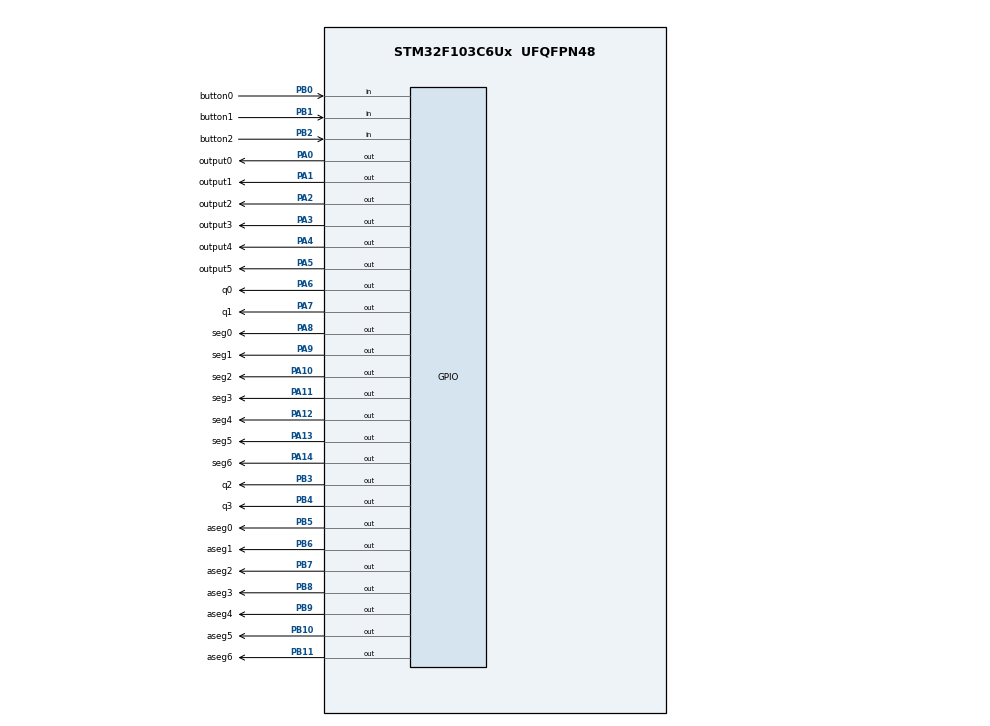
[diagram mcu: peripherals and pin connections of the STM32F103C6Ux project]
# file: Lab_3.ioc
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Mcu.Family=STM32F1
Mcu.Name=STM32F103C6Ux
Mcu.Package=UFQFPN48
NVIC.PriorityGroup=NVIC_PRIORITYGROUP_4
NVIC.TIM2_IRQn=true\:0\:0\:false\:false\:true\:true\:true\:true
PA0-WKUP.GPIO_Label=output0
PA0-WKUP.Signal=GPIO_Output
PA1.GPIO_Label=output1
PA1.Signal=GPIO_Output
PA10.GPIO_Label=seg2
PA10.Signal=GPIO_Output
PA11.GPIO_Label=seg3
PA11.Signal=GPIO_Output
PA12.GPIO_Label=seg4
PA12.Signal=GPIO_Output
PA13.GPIO_Label=seg5
PA13.Signal=GPIO_Output
PA14.GPIO_Label=seg6
PA14.Signal=GPIO_Output
PA2.GPIO_Label=output2
PA2.Signal=GPIO_Output
PA3.GPIO_Label=output3
PA3.Signal=GPIO_Output
PA4.GPIO_Label=output4
PA4.Signal=GPIO_Output
PA5.GPIO_Label=output5
PA5.Signal=GPIO_Output
PA6.GPIO_Label=q0
PA6.Signal=GPIO_Output
PA7.GPIO_Label=q1
PA7.Signal=GPIO_Output
PA8.GPIO_Label=seg0
PA8.Signal=GPIO_Output
PA9.GPIO_Label=seg1
PA9.Signal=GPIO_Output
PB0.GPIO_Label=button0
PB0.Signal=GPIO_Input
PB1.GPIO_Label=button1
PB1.Signal=GPIO_Input
PB10.GPIO_Label=aseg5
PB10.Signal=GPIO_Output
PB11.GPIO_Label=aseg6
PB11.Signal=GPIO_Output
PB2.GPIO_Label=button2
PB2.Signal=GPIO_Input
PB3.GPIO_Label=q2
PB3.Signal=GPIO_Output
PB4.GPIO_Label=q3
PB4.Signal=GPIO_Output
PB5.GPIO_Label=aseg0
PB5.Signal=GPIO_Output
PB6.GPIO_Label=aseg1
PB6.Signal=GPIO_Output
PB7.GPIO_Label=aseg2
PB7.Signal=GPIO_Output
PB8.GPIO_Label=aseg3
PB8.Signal=GPIO_Output
PB9.GPIO_Label=aseg4
PB9.Signal=GPIO_Output
ProjectManager.HeapSize=0x200
ProjectManager.StackSize=0x400
ProjectManager.TargetToolchain=STM32CubeIDE
RCC.APB1Freq_Value=8000000
RCC.APB2Freq_Value=8000000
TIM2.Period=9
TIM2.Prescaler=7999
VP_TIM2_VS_ClockSourceINT.Mode=Internal
board=custom

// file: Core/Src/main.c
/* USER CODE BEGIN Header */
/**
  ******************************************************************************
  * @file           : main.c
  * @brief          : Main program body
  ******************************************************************************
  * @attention
  *
  * Copyright (c) 2022 STMicroelectronics.
  * All rights reserved.
  *
  * This software is licensed under terms that can be found in the LICENSE file
  * in the root directory of this software component.
  * If no LICENSE file comes with this software, it is provided AS-IS.
  *
  ******************************************************************************
  */
/* USER CODE END Header */
#include "main.h"

/* USER CODE BEGIN Includes */
#include "output_display.h"
#include "fsm_automatic.h"
#include "fsm_manual.h"
#include "button.h"
#include "global.h"
#include "software_timer.h"
#include "mode2.h"
/* USER CODE END Includes */

TIM_HandleTypeDef htim2;

void SystemClock_Config(void);
static void MX_GPIO_Init(void);
static void MX_TIM2_Init(void);

int main(void)
{

  /* MCU Configuration--------------------------------------------------------*/

  /* Reset of all peripherals, Initializes the Flash interface and the Systick. */
  HAL_Init();

  /* Configure the system clock */
  SystemClock_Config();

  /* Initialize all configured peripherals */
  MX_GPIO_Init();
  MX_TIM2_Init();
  /* USER CODE BEGIN 2 */
  HAL_TIM_Base_Start_IT(&htim2);

  /* USER CODE END 2 */

  /* Infinite loop */
  /* USER CODE BEGIN WHILE */

  status = INIT;
  anotherstatus = INIT;

  setTimer4(10);
  setTimer5(1000);

  while (1)
  {
	  mode2();
	  scan7SEG();
	  fsm_automatic_run();
    /* USER CODE END WHILE */

  }
}

void SystemClock_Config(void)
{
  RCC_OscInitTypeDef RCC_OscInitStruct = {0};
  RCC_ClkInitTypeDef RCC_ClkInitStruct = {0};

  /** Initializes the RCC Oscillators according to the specified parameters
  * in the RCC_OscInitTypeDef structure.
  */
  RCC_OscInitStruct.OscillatorType = RCC_OSCILLATORTYPE_HSI;
  RCC_OscInitStruct.HSIState = RCC_HSI_ON;
  RCC_OscInitStruct.HSICalibrationValue = RCC_HSICALIBRATION_DEFAULT;
  RCC_OscInitStruct.PLL.PLLState = RCC_PLL_NONE;
  if (HAL_RCC_OscConfig(&RCC_OscInitStruct) != HAL_OK)
  {
    Error_Handler();
  }

  /** Initializes the CPU, AHB and APB buses clocks
  */
  RCC_ClkInitStruct.ClockType = RCC_CLOCKTYPE_HCLK|RCC_CLOCKTYPE_SYSCLK
                              |RCC_CLOCKTYPE_PCLK1|RCC_CLOCKTYPE_PCLK2;
  RCC_ClkInitStruct.SYSCLKSource = RCC_SYSCLKSOURCE_HSI;
  RCC_ClkInitStruct.AHBCLKDivider = RCC_SYSCLK_DIV1;
  RCC_ClkInitStruct.APB1CLKDivider = RCC_HCLK_DIV1;
  RCC_ClkInitStruct.APB2CLKDivider = RCC_HCLK_DIV1;

  if (HAL_RCC_ClockConfig(&RCC_ClkInitStruct, FLASH_LATENCY_0) != HAL_OK)
  {
    Error_Handler();
  }
}

static void MX_TIM2_Init(void)
{

  TIM_ClockConfigTypeDef sClockSourceConfig = {0};
  TIM_MasterConfigTypeDef sMasterConfig = {0};

  htim2.Instance = TIM2;
  htim2.Init.Prescaler = 7999;
  htim2.Init.CounterMode = TIM_COUNTERMODE_UP;
  htim2.Init.Period = 9;
  htim2.Init.ClockDivision = TIM_CLOCKDIVISION_DIV1;
  htim2.Init.AutoReloadPreload = TIM_AUTORELOAD_PRELOAD_DISABLE;
  if (HAL_TIM_Base_Init(&htim2) != HAL_OK)
  {
    Error_Handler();
  }
  sClockSourceConfig.ClockSource = TIM_CLOCKSOURCE_INTERNAL;
  if (HAL_TIM_ConfigClockSource(&htim2, &sClockSourceConfig) != HAL_OK)
  {
    Error_Handler();
  }
  sMasterConfig.MasterOutputTrigger = TIM_TRGO_RESET;
  sMasterConfig.MasterSlaveMode = TIM_MASTERSLAVEMODE_DISABLE;
  if (HAL_TIMEx_MasterConfigSynchronization(&htim2, &sMasterConfig) != HAL_OK)
  {
    Error_Handler();
  }

}

static void MX_GPIO_Init(void)
{
  GPIO_InitTypeDef GPIO_InitStruct = {0};

  /* GPIO Ports Clock Enable */
  __HAL_RCC_GPIOA_CLK_ENABLE();
  __HAL_RCC_GPIOB_CLK_ENABLE();

  /*Configure GPIO pin Output Level */
  HAL_GPIO_WritePin(GPIOA, output0_Pin|output1_Pin|output2_Pin|output3_Pin
                          |output4_Pin|output5_Pin|q0_Pin|q1_Pin
                          |seg0_Pin|seg1_Pin|seg2_Pin|seg3_Pin
                          |seg4_Pin|seg5_Pin|seg6_Pin, GPIO_PIN_RESET);

  /*Configure GPIO pin Output Level */
  HAL_GPIO_WritePin(GPIOB, aseg5_Pin|aseg6_Pin|q2_Pin|q3_Pin
                          |aseg0_Pin|aseg1_Pin|aseg2_Pin|aseg3_Pin
                          |aseg4_Pin, GPIO_PIN_RESET);

  /*Configure GPIO pins : output0_Pin output1_Pin output2_Pin output3_Pin
                           output4_Pin output5_Pin q0_Pin q1_Pin
                           seg0_Pin seg1_Pin seg2_Pin seg3_Pin
                           seg4_Pin seg5_Pin seg6_Pin */
  GPIO_InitStruct.Pin = output0_Pin|output1_Pin|output2_Pin|output3_Pin
                          |output4_Pin|output5_Pin|q0_Pin|q1_Pin
                          |seg0_Pin|seg1_Pin|seg2_Pin|seg3_Pin
                          |seg4_Pin|seg5_Pin|seg6_Pin;
  GPIO_InitStruct.Mode = GPIO_MODE_OUTPUT_PP;
  GPIO_InitStruct.Pull = GPIO_NOPULL;
  GPIO_InitStruct.Speed = GPIO_SPEED_FREQ_LOW;
  HAL_GPIO_Init(GPIOA, &GPIO_InitStruct);

  /*Configure GPIO pins : button0_Pin button1_Pin button2_Pin */
  GPIO_InitStruct.Pin = button0_Pin|button1_Pin|button2_Pin;
  GPIO_InitStruct.Mode = GPIO_MODE_INPUT;
  GPIO_InitStruct.Pull = GPIO_NOPULL;
  HAL_GPIO_Init(GPIOB, &GPIO_InitStruct);

  /*Configure GPIO pins : aseg5_Pin aseg6_Pin q2_Pin q3_Pin
                           aseg0_Pin aseg1_Pin aseg2_Pin aseg3_Pin
                           aseg4_Pin */
  GPIO_InitStruct.Pin = aseg5_Pin|aseg6_Pin|q2_Pin|q3_Pin
                          |aseg0_Pin|aseg1_Pin|aseg2_Pin|aseg3_Pin
                          |aseg4_Pin;
  GPIO_InitStruct.Mode = GPIO_MODE_OUTPUT_PP;
  GPIO_InitStruct.Pull = GPIO_NOPULL;
  GPIO_InitStruct.Speed = GPIO_SPEED_FREQ_LOW;
  HAL_GPIO_Init(GPIOB, &GPIO_InitStruct);

}

/* USER CODE BEGIN 4 */
void HAL_TIM_PeriodElapsedCallback ( TIM_HandleTypeDef * htim ) {
	timerRun();
	getKeyInput();
}
/* USER CODE END 4 */

void Error_Handler(void)
{
  __disable_irq();
  while (1)
  {
  }
}
